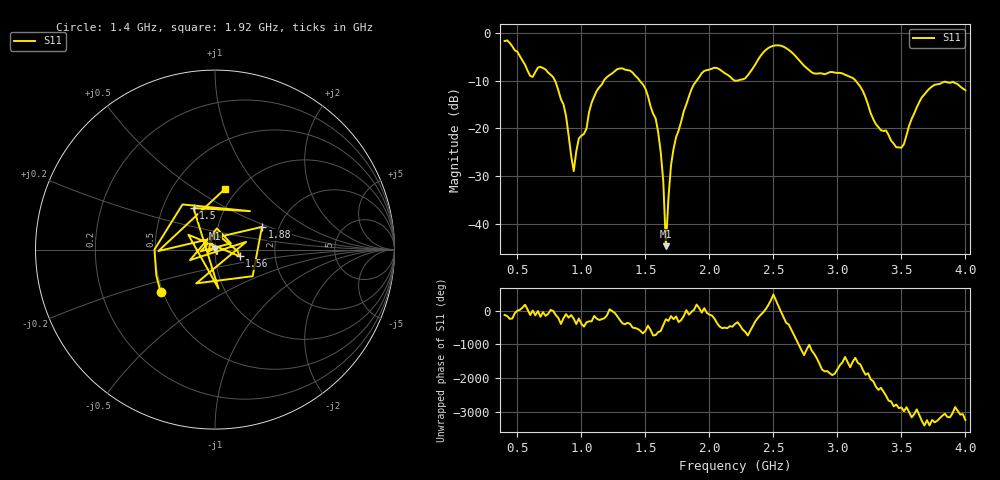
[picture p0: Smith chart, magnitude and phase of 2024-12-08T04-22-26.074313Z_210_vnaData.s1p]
!Created with skrf (http://scikit-rf.org).
# Hz S RI R 50.0
!freq ReS11 ImS11
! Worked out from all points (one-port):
!   181 points, 400 MHz to 4 GHz, reference 50 ohm
!   lowest |S11| = -44.8 dB at 1.66 GHz (marker M1), VSWR 1.01, Z = 49.8 + j0.557 ohm
!   |S11| at or under -10 dB: 793.2 MHz to 1.176 GHz (382.4 MHz wide, 38.8 % of centre); 1.455 GHz to 1.9 GHz (445.2 MHz wide, 26.5 % of centre); 3.143 GHz to end of sweep (the widest 3 of 4)
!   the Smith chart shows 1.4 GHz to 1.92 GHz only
!   S11 on the Smith chart (normalised r, x): 1.4 GHz: 0.49, -0.27; 1.5 GHz: 0.71, +0.35; 1.56 GHz: 1.31, -0.10; 1.88 GHz: 1.63, +0.45; 1.92 GHz: 0.88, +0.67
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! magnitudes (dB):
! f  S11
! 400 MHz  -1.7
! 600 MHz  -9.0
! 780 MHz  -9.3
! 860 MHz  -15.0
! 940 MHz  -29.0
! 980 MHz  -22.1
! 1.12 GHz  -12.1
! 1.3 GHz  -7.4
! 1.4 GHz  -8.3
! 1.5 GHz  -11.7
! 1.56 GHz  -17.0
! 1.62 GHz  -25.1
! 1.64 GHz  -31.3
! 1.66 GHz  -44.8
! 1.7 GHz  -27.8
! 1.76 GHz  -20.4
! 1.88 GHz  -10.7
! 1.92 GHz  -9.3
! 2.04 GHz  -7.3
! 2.2 GHz  -10.0
! 2.48 GHz  -2.9
! 2.66 GHz  -4.5
! 2.82 GHz  -8.5
! 3.1 GHz  -9.2
! 3.46 GHz  -24.0
! 3.56 GHz  -19.5
! 3.74 GHz  -11.2
! 4 GHz  -12.0
